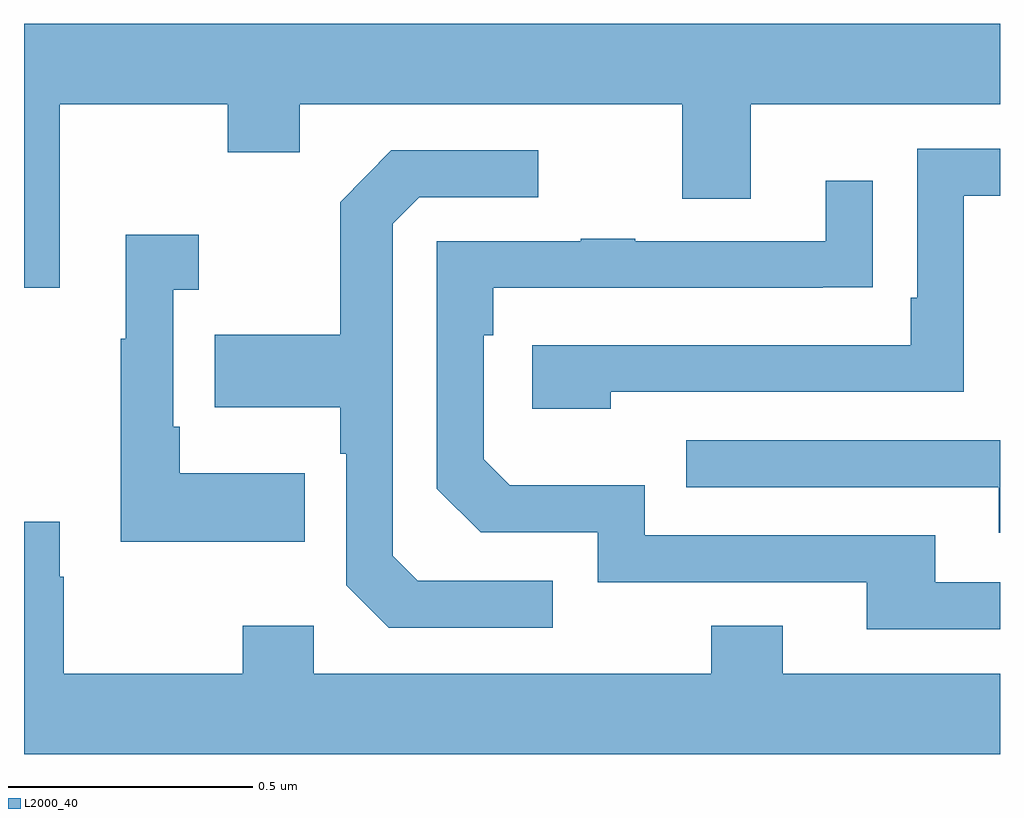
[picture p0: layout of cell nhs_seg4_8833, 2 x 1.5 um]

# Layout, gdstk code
import gdstk
lib = gdstk.Library(unit=1e-6, precision=1e-09)
def P(c, l, *ps):  # polygons
    for p in ps: c.add(gdstk.Polygon(p, *l))
L2000_40 = (2000, 40)

nhs_seg4_8833 = lib.new_cell('nhs_seg4_8833')
P(nhs_seg4_8833, L2000_40, [(219.073,831.452),(219.418,831.452),(219.418,831.353),(219.565,831.353),(219.565,831.452),(220.349,831.452),(220.349,831.258),(220.489,831.258),(220.489,831.452),(221,831.452),(221,831.616),(219,831.616),(219,831.075),(219.073,831.075)],
  [(220.202,830.862),(220.926,830.862),(220.926,831.264),(221,831.264),(221,831.36),(220.83,831.36),(220.83,831.055),(220.817,831.055),(220.817,830.958),(220.041,830.958),(220.041,830.828),(220.202,830.828)],
  [(220.084,830.475),(219.807,830.475),(219.756,830.526),(219.756,831.207),(219.81,831.261),(220.054,831.261),(220.054,831.357),(219.753,831.357),(219.648,831.251),(219.648,830.979),(219.391,830.979),(219.391,830.831),(219.648,830.831),(219.648,830.735),(219.66,830.735),(219.66,830.466),(219.747,830.379),(220.084,830.379)],
  [(221,830.472),(220.867,830.472),(220.867,830.568),(220.272,830.568),(220.272,830.671),(219.995,830.671),(219.942,830.724),(219.942,830.978),(219.962,830.978),(219.962,831.075),(220.637,831.075),(220.637,831.076),(220.739,831.076),(220.739,831.295),(220.643,831.295),(220.643,831.171),(220.253,831.171),(220.253,831.176),(220.141,831.176),(220.141,831.171),(219.846,831.171),(219.846,830.664),(219.936,830.574),(220.176,830.574),(220.176,830.472),(220.727,830.472),(220.727,830.376),(221,830.376)],
  [(219.575,830.695),(219.319,830.695),(219.319,830.791),(219.306,830.791),(219.306,831.071),(219.358,831.071),(219.358,831.184),(219.209,831.184),(219.209,830.971),(219.198,830.971),(219.198,830.555),(219.575,830.555)],
  [(221,830.763),(220.357,830.763),(220.357,830.667),(220.997,830.667),(220.997,830.573),(221,830.573)],
  [(221,830.284),(220.555,830.284),(220.555,830.383),(220.408,830.383),(220.408,830.284),(219.594,830.284),(219.594,830.383),(219.448,830.383),(219.448,830.284),(219.081,830.284),(219.081,830.483),(219.073,830.483),(219.073,830.596),(219,830.596),(219,830.12),(221,830.12)])

lib.write_gds('nhs_seg4_8833.gds')
